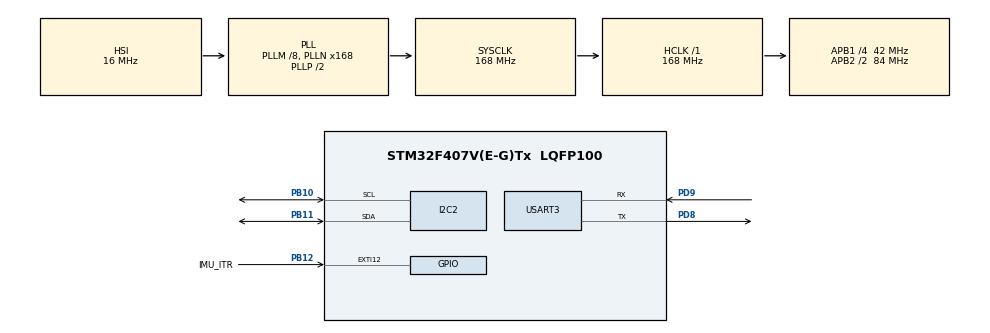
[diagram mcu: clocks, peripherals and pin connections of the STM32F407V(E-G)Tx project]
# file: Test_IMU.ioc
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Dma.I2C2_RX.0.Direction=DMA_PERIPH_TO_MEMORY
Dma.I2C2_RX.0.FIFOMode=DMA_FIFOMODE_DISABLE
Dma.I2C2_RX.0.Instance=DMA1_Stream2
Dma.I2C2_RX.0.MemDataAlignment=DMA_MDATAALIGN_BYTE
Dma.I2C2_RX.0.MemInc=DMA_MINC_ENABLE
Dma.I2C2_RX.0.Mode=DMA_NORMAL
Dma.I2C2_RX.0.PeriphDataAlignment=DMA_PDATAALIGN_BYTE
Dma.I2C2_RX.0.PeriphInc=DMA_PINC_DISABLE
Dma.I2C2_RX.0.Priority=DMA_PRIORITY_VERY_HIGH
Dma.I2C2_TX.1.Direction=DMA_MEMORY_TO_PERIPH
Dma.I2C2_TX.1.FIFOMode=DMA_FIFOMODE_DISABLE
Dma.I2C2_TX.1.Instance=DMA1_Stream7
Dma.I2C2_TX.1.MemDataAlignment=DMA_MDATAALIGN_BYTE
Dma.I2C2_TX.1.MemInc=DMA_MINC_ENABLE
Dma.I2C2_TX.1.Mode=DMA_NORMAL
Dma.I2C2_TX.1.PeriphDataAlignment=DMA_PDATAALIGN_BYTE
Dma.I2C2_TX.1.PeriphInc=DMA_PINC_DISABLE
Dma.I2C2_TX.1.Priority=DMA_PRIORITY_VERY_HIGH
Dma.Request0=I2C2_RX
Dma.Request1=I2C2_TX
I2C2.DutyCycle=I2C_DUTYCYCLE_16_9
I2C2.I2C_Mode=I2C_Fast
Mcu.Family=STM32F4
Mcu.Name=STM32F407V(E-G)Tx
Mcu.Package=LQFP100
NVIC.DMA1_Stream2_IRQn=true\:0\:0\:false\:false\:true\:false\:true\:true
NVIC.DMA1_Stream7_IRQn=true\:0\:0\:false\:false\:true\:false\:true\:true
NVIC.I2C2_ER_IRQn=true\:0\:0\:false\:false\:true\:true\:true\:true
NVIC.I2C2_EV_IRQn=true\:0\:0\:false\:false\:true\:true\:true\:true
NVIC.PriorityGroup=NVIC_PRIORITYGROUP_4
NVIC.USART3_IRQn=true\:0\:0\:false\:false\:true\:true\:true\:true
PB10.GPIO_Pu=GPIO_PULLUP
PB10.Mode=I2C
PB10.Signal=I2C2_SCL
PB11.GPIO_Pu=GPIO_PULLUP
PB11.Mode=I2C
PB11.Signal=I2C2_SDA
PB12.GPIO_Label=IMU_ITR
PB12.Signal=GPXTI12
PC14-OSC32_IN.Mode=LSE-External-Oscillator
PC14-OSC32_IN.Signal=RCC_OSC32_IN
PC15-OSC32_OUT.Mode=LSE-External-Oscillator
PC15-OSC32_OUT.Signal=RCC_OSC32_OUT
PD8.Mode=Asynchronous
PD8.Signal=USART3_TX
PD9.Mode=Asynchronous
PD9.Signal=USART3_RX
PH0-OSC_IN.Mode=HSE-External-Oscillator
PH0-OSC_IN.Signal=RCC_OSC_IN
PH1-OSC_OUT.Mode=HSE-External-Oscillator
PH1-OSC_OUT.Signal=RCC_OSC_OUT
ProjectManager.HeapSize=0x200
ProjectManager.StackSize=0x400
ProjectManager.TargetToolchain=CMake
RCC.48MHZClocksFreq_Value=84000000
RCC.AHBFreq_Value=168000000
RCC.APB1CLKDivider=RCC_HCLK_DIV4
RCC.APB1Freq_Value=42000000
RCC.APB1TimFreq_Value=84000000
RCC.APB2CLKDivider=RCC_HCLK_DIV2
RCC.APB2Freq_Value=84000000
RCC.APB2TimFreq_Value=168000000
RCC.CortexFreq_Value=168000000
RCC.HCLKFreq_Value=168000000
RCC.HSE_VALUE=25000000
RCC.HSI_VALUE=16000000
RCC.PLLM=8
RCC.PLLN=168
RCC.SYSCLKFreq_VALUE=168000000
RCC.SYSCLKSource=RCC_SYSCLKSOURCE_PLLCLK
RCC.VCOOutputFreq_Value=336000000
USART3.VirtualMode=VM_ASYNC
board=custom

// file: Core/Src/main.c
/* USER CODE BEGIN Header */
/**
  ******************************************************************************
  * @file           : main.c
  * @brief          : Main program body
  ******************************************************************************
  * @attention
  *
  * Copyright (c) 2026 STMicroelectronics.
  * All rights reserved.
  *
  * This software is licensed under terms that can be found in the LICENSE file
  * in the root directory of this software component.
  * If no LICENSE file comes with this software, it is provided AS-IS.
  *
  ******************************************************************************
  */
/* USER CODE END Header */
#include "main.h"
#include "dma.h"
#include "i2c.h"
#include "usart.h"
#include "gpio.h"

/* USER CODE BEGIN Includes */
#include "QMI8658.h"
#include <stdio.h>
/* USER CODE END Includes */

void SystemClock_Config(void);

int main(void)
{

  /* MCU Configuration--------------------------------------------------------*/

  /* Reset of all peripherals, Initializes the Flash interface and the Systick. */
  HAL_Init();

  /* Configure the system clock */
  SystemClock_Config();

  /* Initialize all configured peripherals */
  MX_GPIO_Init();
  MX_DMA_Init();
  MX_I2C2_Init();
  MX_USART3_UART_Init();
  /* USER CODE BEGIN 2 */
  if (QMI8658_Init()) {
    printf("QMI8658 init success\r\n");
  } else {
    printf("QMI8658 init failed\r\n");
    Error_Handler();
  }

  // 可选：读取温度验证
  float temp = QMI8658_ReadTemperature();
  printf("Temperature: %.2f C\r\n", temp);
  /* USER CODE END 2 */

  /* Infinite loop */
  /* USER CODE BEGIN WHILE */
  while (1)
  {
    // 方法1：读取原始数据
    float acc[3], gyro[3];
    QMI8658_ReadRaw(acc, gyro);
    printf("Acc: %.3f, %.3f, %.3f  Gyro: %.1f, %.1f, %.1f\r\n",
           acc[0], acc[1], acc[2], gyro[0], gyro[1], gyro[2]);

    // 方法2：获取欧拉角（推荐使用定时器或固定延时调用）
    // float roll, pitch, yaw;
    // QMI8658_GetEulerSimple(&roll, &pitch, &yaw);
    // printf("Roll: %.2f, Pitch: %.2f, Yaw: %.2f\r\n", roll, pitch, yaw);

    HAL_Delay(100);  // 100ms 读取一次
    /* USER CODE END WHILE */

  }
}

void SystemClock_Config(void)
{
  RCC_OscInitTypeDef RCC_OscInitStruct = {0};
  RCC_ClkInitTypeDef RCC_ClkInitStruct = {0};

  /** Configure the main internal regulator output voltage
  */
  __HAL_RCC_PWR_CLK_ENABLE();
  __HAL_PWR_VOLTAGESCALING_CONFIG(PWR_REGULATOR_VOLTAGE_SCALE1);

  /** Initializes the RCC Oscillators according to the specified parameters
  * in the RCC_OscInitTypeDef structure.
  */
  RCC_OscInitStruct.OscillatorType = RCC_OSCILLATORTYPE_HSI;
  RCC_OscInitStruct.HSIState = RCC_HSI_ON;
  RCC_OscInitStruct.HSICalibrationValue = RCC_HSICALIBRATION_DEFAULT;
  RCC_OscInitStruct.PLL.PLLState = RCC_PLL_ON;
  RCC_OscInitStruct.PLL.PLLSource = RCC_PLLSOURCE_HSI;
  RCC_OscInitStruct.PLL.PLLM = 8;
  RCC_OscInitStruct.PLL.PLLN = 168;
  RCC_OscInitStruct.PLL.PLLP = RCC_PLLP_DIV2;
  RCC_OscInitStruct.PLL.PLLQ = 4;
  if (HAL_RCC_OscConfig(&RCC_OscInitStruct) != HAL_OK)
  {
    Error_Handler();
  }

  /** Initializes the CPU, AHB and APB buses clocks
  */
  RCC_ClkInitStruct.ClockType = RCC_CLOCKTYPE_HCLK|RCC_CLOCKTYPE_SYSCLK
                              |RCC_CLOCKTYPE_PCLK1|RCC_CLOCKTYPE_PCLK2;
  RCC_ClkInitStruct.SYSCLKSource = RCC_SYSCLKSOURCE_PLLCLK;
  RCC_ClkInitStruct.AHBCLKDivider = RCC_SYSCLK_DIV1;
  RCC_ClkInitStruct.APB1CLKDivider = RCC_HCLK_DIV4;
  RCC_ClkInitStruct.APB2CLKDivider = RCC_HCLK_DIV2;

  if (HAL_RCC_ClockConfig(&RCC_ClkInitStruct, FLASH_LATENCY_5) != HAL_OK)
  {
    Error_Handler();
  }
}

/* USER CODE BEGIN 4 */
int __io_putchar(int ch)
{
  extern UART_HandleTypeDef huart3;   // 声明外部变量，由 CubeMX 生成
  HAL_UART_Transmit(&huart3, (uint8_t *)&ch, 1, HAL_MAX_DELAY);
  return ch;
}
/* USER CODE END 4 */

void Error_Handler(void)
{
  __disable_irq();
  while (1)
  {
  }
}
